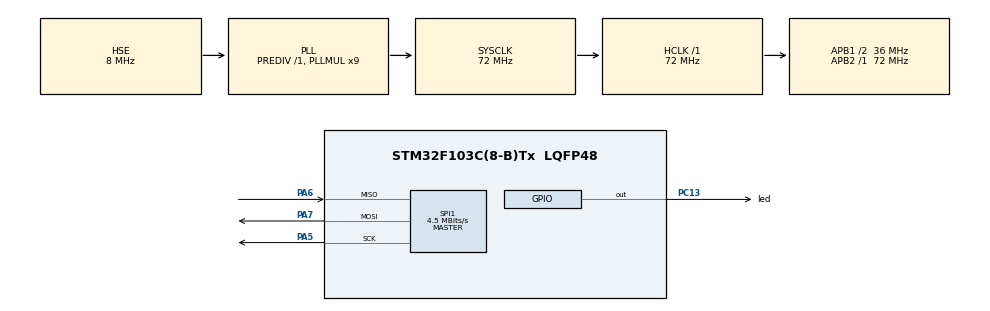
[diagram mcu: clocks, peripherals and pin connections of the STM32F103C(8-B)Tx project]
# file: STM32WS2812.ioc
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Dma.Request0=SPI1_TX
Dma.SPI1_TX.0.Direction=DMA_MEMORY_TO_PERIPH
Dma.SPI1_TX.0.Instance=DMA1_Channel3
Dma.SPI1_TX.0.MemDataAlignment=DMA_MDATAALIGN_BYTE
Dma.SPI1_TX.0.MemInc=DMA_MINC_ENABLE
Dma.SPI1_TX.0.Mode=DMA_NORMAL
Dma.SPI1_TX.0.PeriphDataAlignment=DMA_PDATAALIGN_BYTE
Dma.SPI1_TX.0.PeriphInc=DMA_PINC_DISABLE
Dma.SPI1_TX.0.Priority=DMA_PRIORITY_LOW
Mcu.Family=STM32F1
Mcu.Name=STM32F103C(8-B)Tx
Mcu.Package=LQFP48
NVIC.DMA1_Channel3_IRQn=true\:5\:0\:true\:false\:true\:false\:true\:true
NVIC.PriorityGroup=NVIC_PRIORITYGROUP_4
PA13.Mode=Serial_Wire
PA13.Signal=SYS_JTMS-SWDIO
PA14.Mode=Serial_Wire
PA14.Signal=SYS_JTCK-SWCLK
PA5.Mode=Full_Duplex_Master
PA5.Signal=SPI1_SCK
PA6.Mode=Full_Duplex_Master
PA6.Signal=SPI1_MISO
PA7.Mode=Full_Duplex_Master
PA7.Signal=SPI1_MOSI
PC13-TAMPER-RTC.GPIO_Label=led
PC13-TAMPER-RTC.Signal=GPIO_Output
PD0-OSC_IN.GPIO_Label=WS_CLK
PD0-OSC_IN.Mode=HSE-External-Oscillator
PD0-OSC_IN.Signal=RCC_OSC_IN
PD1-OSC_OUT.GPIO_Label=WS_DATA
PD1-OSC_OUT.Mode=HSE-External-Oscillator
PD1-OSC_OUT.Signal=RCC_OSC_OUT
ProjectManager.HeapSize=0x200
ProjectManager.StackSize=0x400
ProjectManager.TargetToolchain=Makefile
RCC.AHBFreq_Value=72000000
RCC.APB1CLKDivider=RCC_HCLK_DIV2
RCC.APB1Freq_Value=36000000
RCC.APB1TimFreq_Value=72000000
RCC.APB2Freq_Value=72000000
RCC.APB2TimFreq_Value=72000000
RCC.HCLKFreq_Value=72000000
RCC.PLLMUL=RCC_PLL_MUL9
RCC.PLLSourceVirtual=RCC_PLLSOURCE_HSE
RCC.SYSCLKFreq_VALUE=72000000
RCC.SYSCLKSource=RCC_SYSCLKSOURCE_PLLCLK
RCC.USBFreq_Value=72000000
SPI1.BaudRatePrescaler=SPI_BAUDRATEPRESCALER_16
SPI1.CLKPhase=SPI_PHASE_1EDGE
SPI1.CRCCalculation=SPI_CRCCALCULATION_DISABLE
SPI1.CalculateBaudRate=4.5 MBits/s
SPI1.Direction=SPI_DIRECTION_2LINES
SPI1.Mode=SPI_MODE_MASTER
SPI1.VirtualType=VM_MASTER
board=custom

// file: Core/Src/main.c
/* USER CODE BEGIN Header */
/**
 ******************************************************************************
 * @file           : main.c
 * @brief          : Main program body
 ******************************************************************************
 * @attention
 *
 * Copyright (c) 2024 STMicroelectronics.
 * All rights reserved.
 *
 * This software is licensed under terms that can be found in the LICENSE file
 * in the root directory of this software component.
 * If no LICENSE file comes with this software, it is provided AS-IS.
 *
 ******************************************************************************
 */
/* USER CODE END Header */
#include "main.h"
#include "dma.h"
#include "spi.h"
#include "gpio.h"

/* USER CODE BEGIN Includes */
#include "ws_driver.h"
/* USER CODE END Includes */

/* USER CODE BEGIN PTD */
enum
{
  idle,
  pressing,
  pressed,
  released
} KEY_STATE;
/* USER CODE END PTD */

void SystemClock_Config(void);

/* USER CODE BEGIN 0 */
// WS2812B_TypeDef ws[ws_num];
// extern PIXEL_COLOR[PIXEL_NUMS];
extern PIXEL_TypeDef PIXEL[PIXEL_NUMS];
int key_state[2] = {idle, idle};
int time[2] = {0, 0};
int brightness[2] = {255, 255};

void show_handler(uint8_t *ws_buffer)
{
  HAL_SPI_Transmit_DMA(&hspi1, ws_buffer, PIXEL_NUMS * PIXEL_BITS_NUMS);
  HAL_Delay(1);
}

//! example for fade in and fade out effect
// void key_handler(int key_state, int key_num)
// {
//   switch (key_state)
//   {
//   case idle:
//     ws_brightness_resetAll(0);
//     ws_setAllPixelColor(ws_color(0, 0, 0));
//     break;
//   case pressed:
//     ws_fadeInAll(10, ws_color(127, 127, 0));

//     break;
//   case released:

//     ws_fadeOutAll(50);
//     break;
//   default:
//     break;
//   }
// }

// int key_state = idle;

// void time_handler()
// {
//   key_state++;
//   if (key_state > released)
//   {
//     key_state = idle;
//   }
// }

//! -----------------

//! example water light effect
// int water_light_state = idle;
// int count = 0;
// int start_pixel = 0;
// int key_press = idle;

// void key_press_timer()
// {
//   key_press++;
//   if (key_press > released)
//   {
//     key_press = idle;
//   }
// }

// void key_press_handler()
// {
//   switch (key_press)
//   {
//   case idle:
//     count = 0;
//     for (int i = 0; i < 8; i++)
//     {
//       ws_pixel_state_reset(i, 0);
//       ws_setPixelColor(i, ws_color(0, 0, 0));
//     }

//     break;
//   case pressing:

//     if (HAL_GetTick() - time[1] > 30)
//     {
//       time[1] = HAL_GetTick();
//       count++;
//       if (count > 8)
//       {
//         count = 8;
//       }
//       for (int i = 0; i < count; i++)
//       {
//         ws_fadeIn(i, 10, ws_color(0, 255, 255));
//       }
//     }

//     // key_press = idle;
//     break;
//   case pressed:
//     ws_brightness_resetAll(255);

//     count = 0;
//     break;
//   case released:
//     if (HAL_GetTick() - time[0] > 30)
//     {
//       time[0] = HAL_GetTick();
//       for (int i = 0; i < count; i++)
//       {
//         ws_fadeOut(i, 10);
//       }
//       count++;
//       if (count > 8)
//       {
//         count = 8;
//       }
//     }
//     // ws_fadeOutAll(10);
//     break;
//   default:
//     break;
//   }
// }

//! ----------------------------

//! key fader example
int key_fader_state = idle;
int key_fader_state_2 = idle;
int key_timer = 0;
int key_timer_2 = 0;
int start = 2;
int start_2 = 6;
int len = 0;
int len_2 = 0;
int target = 4;

int width = 4;
int height = 2;
void handle_key_fader()
{
  switch (key_fader_state)
  {
  case idle:

    break;
  case pressing:
    // 延时增加长度
    if (HAL_GetTick() - key_timer > 33)
    {
      key_timer = HAL_GetTick();
      len++;
      if (len > target)
      {
        len = target;
      }
    }
    // 每次增加的亮度
    uint8_t step = 255 / len;

    int layer = 0;
    if (start < 4)
    {
      layer = 0;
    }
    else
    {
      layer = 1;
    }
    int toRight = width * (layer + 1) - 1;
    int toLeft = width * (layer + 1) - width;
    // to left

    for (int i = 0; i < len; i++)
    {
      int pos = start - i;
      if (pos < toLeft) // 边缘检测
      {
        // return;
      }
      else
      {

        ws_setPixelColor(pos, ws_color(255, 0, 255));
        PIXEL[pos].brightness = i * step + 64 >= 255 ? 255 : i * step + 64;
      }
    }
    // to right

    for (int i = 0; i < len; i++)
    {

      int pos = start + i;
      if (pos > toRight) // 边缘检测
      {
        // return;
      }
      else
      {
        ws_setPixelColor(pos, ws_color(255, 0, 255));
        // PIXEL[pos].brightness = i * 5 + 60;
        PIXEL[pos].brightness = i * step + 64 >= 255 ? 255 : i * step + 64;
      }
    }

    break;
  case pressed:

    break;
  case released:
    len = 0;

    break;
  default:
    break;
  }
}

void handle_key_fader2()
{
  switch (key_fader_state_2)
  {
  case idle:

    break;
  case pressing:
    if (HAL_GetTick() - key_timer_2 > 33)
    {
      key_timer_2 = HAL_GetTick();
      len_2++;
      if (len_2 > target)
      {
        len_2 = target;
      }
    }

    uint8_t step = 255 / len_2;
    int layer2 = 0;
    if (start_2 < 4)
    {
      layer2 = 0;
    }
    else
    {
      layer2 = 1;
    }

    for (int i = 0; i < len_2; i++)
    {
      int pos = start_2 - i;
      if (pos < width * (layer2 + 1) - width)
      {
        // return;
      }
      else
      {
        ws_setPixelColor(pos, ws_color(255, 0, 255));

        PIXEL[pos].brightness = i * step + 64 >= 255 ? 255 : i * step + 64;
      }
    }
    // to right
    for (int i = 0; i < len_2; i++)
    {

      int pos = start_2 + i;
      if (pos > width * (layer2 + 1) - 1)
      {
        // return;
      }
      else
      {

        ws_setPixelColor(pos, ws_color(255, 0, 255));
        // PIXEL[pos].brightness = i * 5 + 60;
        PIXEL[pos].brightness = i * step + 64 >= 255 ? 255 : i * step + 64;
      }
    }

    // to left

    break;
  case pressed:

    break;
  case released:
    len_2 = 0;
    break;
  default:
    break;
  }
}
void key_fader_timer()
{
  key_fader_state++;
  if (key_fader_state > released)
  {
    key_fader_state = idle;
  }
}

void key_fader_timer2()
{
  key_fader_state_2++;
  if (key_fader_state_2 > released)
  {
    key_fader_state_2 = idle;
  }
}

//! ----------------------------

/* USER CODE END 0 */

int main(void)
{

  /* MCU Configuration--------------------------------------------------------*/

  /* Reset of all peripherals, Initializes the Flash interface and the Systick. */
  HAL_Init();

  /* Configure the system clock */
  SystemClock_Config();

  /* Initialize all configured peripherals */
  MX_GPIO_Init();
  MX_DMA_Init();
  MX_SPI1_Init();
  /* USER CODE BEGIN 2 */

  ws_init();

  ws_clearAll();
  ws_show();
  ws_setBrightness(0);
  // int key_state_1 = idle;

  /* USER CODE END 2 */

  /* Infinite loop */
  while (1)
  {

    /* USER CODE BEGIN 3 */

    //! example for fade in and fade out effect
    // EVERY_N_MILLISECONDS(1000, time_handler);
    // key_handler(key_state, 0);
    //! --------------------------------------------

    //! example water light effect
    // EVERY_N_MILLISECONDS(500, key_press_timer);
    // key_press_handler();
    //! ----------------------------

    //! key fader example

    handle_key_fader();
    handle_key_fader2();
    // EVERY_N_MILLISECONDS(500, key_fader_timer);
    // EVERY_N_MILLISECONDS(1000, key_fader_timer2);

    //! ----------------------------

    for (int i = 0; i < 8; i++)
    {
      ws_effect_fadeToBlack(i, 5);
    }

    ws_pixel_to_buffer();
    ws_show();

    if (HAL_GetTick() - time[0] > 500)
    {
      key_fader_timer();
      time[0] = HAL_GetTick();
    }
    if (HAL_GetTick() - time[1] > 1000)
    {
      key_fader_timer2();
      time[1] = HAL_GetTick();
    }
  }

  /* USER CODE END 3 */
}

void SystemClock_Config(void)
{
  RCC_OscInitTypeDef RCC_OscInitStruct = {0};
  RCC_ClkInitTypeDef RCC_ClkInitStruct = {0};

  /** Initializes the RCC Oscillators according to the specified parameters
   * in the RCC_OscInitTypeDef structure.
   */
  RCC_OscInitStruct.OscillatorType = RCC_OSCILLATORTYPE_HSE;
  RCC_OscInitStruct.HSEState = RCC_HSE_ON;
  RCC_OscInitStruct.HSEPredivValue = RCC_HSE_PREDIV_DIV1;
  RCC_OscInitStruct.HSIState = RCC_HSI_ON;
  RCC_OscInitStruct.PLL.PLLState = RCC_PLL_ON;
  RCC_OscInitStruct.PLL.PLLSource = RCC_PLLSOURCE_HSE;
  RCC_OscInitStruct.PLL.PLLMUL = RCC_PLL_MUL9;
  if (HAL_RCC_OscConfig(&RCC_OscInitStruct) != HAL_OK)
  {
    Error_Handler();
  }

  /** Initializes the CPU, AHB and APB buses clocks
   */
  RCC_ClkInitStruct.ClockType = RCC_CLOCKTYPE_HCLK | RCC_CLOCKTYPE_SYSCLK | RCC_CLOCKTYPE_PCLK1 | RCC_CLOCKTYPE_PCLK2;
  RCC_ClkInitStruct.SYSCLKSource = RCC_SYSCLKSOURCE_PLLCLK;
  RCC_ClkInitStruct.AHBCLKDivider = RCC_SYSCLK_DIV1;
  RCC_ClkInitStruct.APB1CLKDivider = RCC_HCLK_DIV2;
  RCC_ClkInitStruct.APB2CLKDivider = RCC_HCLK_DIV1;

  if (HAL_RCC_ClockConfig(&RCC_ClkInitStruct, FLASH_LATENCY_2) != HAL_OK)
  {
    Error_Handler();
  }
}

void Error_Handler(void)
{
  __disable_irq();
  while (1)
  {
  }
}
